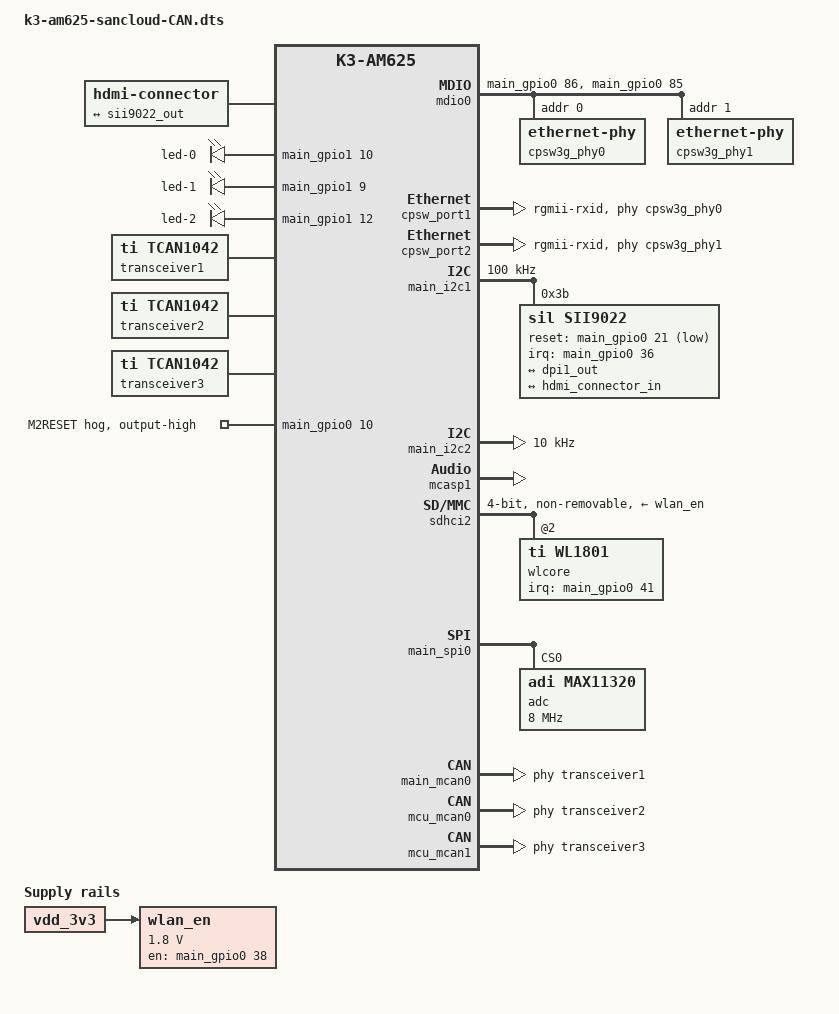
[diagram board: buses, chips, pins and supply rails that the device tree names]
// SPDX-License-Identifier: GPL-2.0
/*
 * https://beagleplay.org/
 *
 * Copyright (C) 2022-2023 Texas Instruments Incorporated - https://www.ti.com/
 * Copyright (C) 2022-2023 Robert Nelson, BeagleBoard.org Foundation
 */

/dts-v1/;
#include "k3-am625-sancloud-stratus.dtsi"

/ {

	wlan_en: regulator-3 {
		/* OUTPUT of SN74AVC2T244DQMR */
		compatible = "regulator-fixed";
		regulator-name = "wlan_en";
		regulator-min-microvolt = <1800000>;
		regulator-max-microvolt = <1800000>;
		enable-active-high;
		regulator-always-on;
		/* regulator-off-in-suspend; */
		vin-supply = <&vdd_3v3>;
		gpio = <&main_gpio0 38 GPIO_ACTIVE_HIGH>;
		pinctrl-names = "default";
		pinctrl-0 = <&wifi_en_pins_default>;
	};

	hdmi: connector {
		compatible = "hdmi-connector";
		label = "hdmi";
		type = "a";
		port {
			hdmi_connector_in: endpoint {
				remote-endpoint = <&sii9022_out>;
			};
		};
	};

	mdio0: bitbang-mdio {
		compatible = "virtual,mdio-gpio";
		pinctrl-names = "default";
		pinctrl-0 = <&mdio0_pins_default>;
		gpios = <&main_gpio0 86 GPIO_ACTIVE_HIGH>, /* MDC */
			<&main_gpio0 85 GPIO_ACTIVE_HIGH>; /* MDIO */
		#address-cells = <1>;
		#size-cells = <0>;

        cpsw3g_phy0: ethernet-phy@0 {
            reg = <0>;
            ti,rx-internal-delay = <DP83867_RGMIIDCTL_2_00_NS>;
            ti,fifo-depth = <DP83867_PHYCR_FIFO_DEPTH_4_B_NIB>;
            ti,min-output-impedance;
        };

        cpsw3g_phy1: ethernet-phy@1 {
            reg = <1>;
            ti,rx-internal-delay = <DP83867_RGMIIDCTL_2_00_NS>;
            ti,fifo-depth = <DP83867_PHYCR_FIFO_DEPTH_4_B_NIB>;
            ti,min-output-impedance;
        };
	};

	hdmi_mstrclk: hdmi-mstrclk {
		compatible = "fixed-clock";
		#clock-cells = <0>;
		clock-frequency = <12288000>;
	};    

	leds {
		compatible = "gpio-leds";

		led-0 {
			gpios = <&main_gpio1 10 GPIO_ACTIVE_HIGH>;
			linux,default-trigger = "heartbeat";
			function = LED_FUNCTION_HEARTBEAT;
			default-state = "off";
		};

		led-1 {
			gpios = <&main_gpio1 9 GPIO_ACTIVE_HIGH>;
			linux,default-trigger = "mmc1";
			function = LED_FUNCTION_DISK;
			default-state = "off";
		};

		led-2 {
			gpios = <&main_gpio1 12 GPIO_ACTIVE_HIGH>;
 			linux,default-trigger = "cpu0";
			function = LED_FUNCTION_CPU;
 			default-state = "off";			
		};
	};

	transceiver1: can-phy0 {
		compatible = "ti,tcan1042";
		#phy-cells = <0>;
		max-bitrate = <5000000>;
	};

	transceiver2: can-phy1 {
		compatible = "ti,tcan1042";
		#phy-cells = <0>;
		max-bitrate = <5000000>;
	};

	transceiver3: can-phy2 {
		compatible = "ti,tcan1042";
		#phy-cells = <0>;
		max-bitrate = <5000000>;
	};

};

&aliases {
		ethernet0 = &cpsw_port1;
		ethernet1 = &cpsw_port2;
		i2c1 = &main_i2c1;
		i2c2 = &main_i2c2;
		i2c3 = &main_i2c3;
		mdio-gpio0 = &mdio0;
		serial0 = &wkup_uart0;
		serial1 = &mcu_uart0;
		serial3 = &main_uart5;
		serial4 = &main_uart6;
		spi1 = &main_spi0;
		spi2 = &main_spi2;
	};

&{/chosen} {
		base_dtb = "k3-am625-sancloud-CAN.dtb";
	};



&main_pmx0 {
	hdmi_pins_default: hdmi-pins-default {
		pinctrl-single,pins = <
			AM62X_IOPAD(0x0100, PIN_OUTPUT, 0) /* (AC25) VOUT0_VSYNC */
			AM62X_IOPAD(0x00f8, PIN_OUTPUT, 0) /* (AB24) VOUT0_HSYNC */
			AM62X_IOPAD(0x0104, PIN_OUTPUT, 0) /* (AC24) VOUT0_PCLK */
			AM62X_IOPAD(0x00fc, PIN_OUTPUT, 0) /* (Y20) VOUT0_DE */
			/* BLUE */
			AM62X_IOPAD(0x00b8, PIN_OUTPUT, 0) /* (U22) VOUT0_DATA0 */
			AM62X_IOPAD(0x00bc, PIN_OUTPUT, 0) /* (V24) VOUT0_DATA1 */
			AM62X_IOPAD(0x00c0, PIN_OUTPUT, 0) /* (W25) VOUT0_DATA2 */
			AM62X_IOPAD(0x00c4, PIN_OUTPUT, 0) /* (W24) VOUT0_DATA3 */
			AM62X_IOPAD(0x00c8, PIN_OUTPUT, 0) /* (Y25) VOUT0_DATA4 */
			AM62X_IOPAD(0x00cc, PIN_OUTPUT, 0) /* (Y24) VOUT0_DATA5 */
			AM62X_IOPAD(0x00d0, PIN_OUTPUT, 0) /* (Y23) VOUT0_DATA6 */
			AM62X_IOPAD(0x00d4, PIN_OUTPUT, 0) /* (AA25) VOUT0_DATA7 */
			/* GREEN */
			AM62X_IOPAD(0x00d8, PIN_OUTPUT, 0) /* (V21) VOUT0_DATA8 */
			AM62X_IOPAD(0x00dc, PIN_OUTPUT, 0) /* (W21) VOUT0_DATA9 */
			AM62X_IOPAD(0x00e0, PIN_OUTPUT, 0) /* (V20) VOUT0_DATA10 */
			AM62X_IOPAD(0x00e4, PIN_OUTPUT, 0) /* (AA23) VOUT0_DATA11 */
			AM62X_IOPAD(0x00e8, PIN_OUTPUT, 0) /* (AB25) VOUT0_DATA12 */
			AM62X_IOPAD(0x00ec, PIN_OUTPUT, 0) /* (AA24) VOUT0_DATA13 */
			AM62X_IOPAD(0x00f0, PIN_OUTPUT, 0) /* (Y22) VOUT0_DATA14 */
			AM62X_IOPAD(0x00f4, PIN_OUTPUT, 0) /* (AA21) VOUT0_DATA15 */
			/*RED*/
			AM62X_IOPAD(0x005c, PIN_OUTPUT, 1) /* (R24) GPMC0_AD8.VOUT0_DATA16 */
			AM62X_IOPAD(0x0060, PIN_OUTPUT, 1) /* (R25) GPMC0_AD9.VOUT0_DATA17 */
			AM62X_IOPAD(0x0064, PIN_OUTPUT, 1) /* (T25) GPMC0_AD10.VOUT0_DATA18 */
			AM62X_IOPAD(0x0068, PIN_OUTPUT, 1) /* (R21) GPMC0_AD11.VOUT0_DATA19 */
			AM62X_IOPAD(0x006c, PIN_OUTPUT, 1) /* (T22) GPMC0_AD12.VOUT0_DATA20 */
			AM62X_IOPAD(0x0070, PIN_OUTPUT, 1) /* (T24) GPMC0_AD13.VOUT0_DATA21 */
			AM62X_IOPAD(0x0074, PIN_OUTPUT, 1) /* (U25) GPMC0_AD14.VOUT0_DATA22 */
			AM62X_IOPAD(0x0078, PIN_OUTPUT, 1) /* (U24) GPMC0_AD15.VOUT0_DATA23 */
		>;
	};

	main_mcasp1_pins_default: main-mcasp1-pins-default {
		pinctrl-single,pins = <
			AM62X_IOPAD(0x0090, PIN_INPUT, 2) /* (M24) GPMC0_BE0N_CLE.MCASP1_ACLKX */
			AM62X_IOPAD(0x0098, PIN_INPUT, 2) /* (U23) GPMC0_WAIT0.MCASP1_AFSX */
			AM62X_IOPAD(0x008c, PIN_OUTPUT, 2) /* (L25) GPMC0_WEN.MCASP1_AXR0 */
			AM62X_IOPAD(0x0084, PIN_INPUT, 2) /* (L23) GPMC0_ADVN_ALE.MCASP1_AXR2 */
		>;
	};

	gpio0_pins_default: gpio0-pins-default {
		pinctrl-single,pins = <
			AM62X_IOPAD(0x001c, PIN_OUTPUT, 7) /* (J23) OSPI0_D4.GPIO0_7 */
			AM62X_IOPAD(0x0020, PIN_OUTPUT, 7) /* (J25) OSPI0_D5.GPIO0_8 */ 
			AM62X_IOPAD(0x0024, PIN_OUTPUT, 7) /* (H25) OSPI0_D7.GPIO0_9 */ 
			AM62X_IOPAD(0x0028, PIN_OUTPUT, 7) /* (J22) OSPI0_D7.GPIO0_10 */
			AM62X_IOPAD(0x0054, PIN_OUTPUT, 7) /* (P21) GPMC0_AD6.GPIO0_21 */ /* HDMI_RSTn */
			AM62X_IOPAD(0x0094, PIN_INPUT, 7) /* (N20) GPMC0_BE1n.GPIO0_36 */ /* HDMI_IRQ */
		>;
	};

	gpio1_pins_default: gpio1-pins-default {
		pinctrl-single,pins = <
			AM62X_IOPAD(0x1a0, PIN_OUTPUT_PULLDOWN, 7)	/* (E18) MCASP0_AXR0.GPIO1_10*/
			AM62X_IOPAD(0x19c, PIN_OUTPUT_PULLDOWN, 7)	/* (B18) MCASP0_AXR1.GPIO1_9*/
			AM62X_IOPAD(0x1a8, PIN_OUTPUT_PULLDOWN, 7)	/* (D20) MCASP0_AFSX.GPIO1_12*/
		>;
	};

	local_i2c1_pins_default: local-i2c1-pins-default {
		pinctrl-single,pins = <
			AM62X_IOPAD(0x01e8, PIN_INPUT_PULLUP, 0) /* (B17) I2C1_SCL */
			AM62X_IOPAD(0x01ec, PIN_INPUT_PULLUP, 0) /* (A17) I2C1_SDA */
		>;
	};

	local_i2c2_pins_default: local-i2c2-pins-default {
		pinctrl-single,pins = <
			AM62X_IOPAD(0x00b0, PIN_INPUT_PULLUP, 1) /* (K22) GPMC0_CSn2.I2C2_SCL */
			AM62X_IOPAD(0x00b4, PIN_INPUT_PULLUP, 1) /* (K24) GPMC0_CSn3.I2C2_SDA */
		>;
	};

	mdio0_pins_default: mdio0-pins-default {
		pinctrl-single,pins = <
			AM62X_IOPAD(0x0160, PIN_OUTPUT, 7) /* (AD24) MDIO0_MDC.GPIO0_86 */
			AM62X_IOPAD(0x015c, PIN_INPUT, 7) /* (AB22) MDIO0_MDIO.GPIO0_85 */
		>;
	};

	rgmii1_pins_default: rgmii1-pins-default {
		pinctrl-single,pins = <
			AM62X_IOPAD(0x014c, PIN_INPUT, 0) /* (AB17) RGMII1_RD0 */
			AM62X_IOPAD(0x0150, PIN_INPUT, 0) /* (AC17) RGMII1_RD1 */
			AM62X_IOPAD(0x0154, PIN_INPUT, 0) /* (AB16) RGMII1_RD2 */
			AM62X_IOPAD(0x0158, PIN_INPUT, 0) /* (AA15) RGMII1_RD3 */
			AM62X_IOPAD(0x0148, PIN_INPUT, 0) /* (AD17) RGMII1_RXC */
			AM62X_IOPAD(0x0144, PIN_INPUT, 0) /* (AE17) RGMII1_RX_CTL */
			AM62X_IOPAD(0x0134, PIN_OUTPUT, 0) /* (AE20) RGMII1_TD0 */
			AM62X_IOPAD(0x0138, PIN_OUTPUT, 0) /* (AD20) RGMII1_TD1 */
			AM62X_IOPAD(0x013c, PIN_OUTPUT, 0) /* (AE18) RGMII1_TD2 */
			AM62X_IOPAD(0x0140, PIN_OUTPUT, 0) /* (AD18) RGMII1_TD3 */
			AM62X_IOPAD(0x0130, PIN_OUTPUT, 0) /* (AE19) RGMII1_TXC */
			AM62X_IOPAD(0x012c, PIN_OUTPUT, 0) /* (AD19) RGMII1_TX_CTL */
			AM62X_IOPAD(0x00a4, PIN_OUTPUT, 7) /* (M22) GPMC0_DIR.GPIO0_40 */
			AM62X_IOPAD(0x00ac, PIN_INPUT_PULLUP, 7) /* (L21) GPMC0_CSn1.GPIO0_42 */

		>;
	};

	rgmii2_pins_default: rgmii2-pins-default {
		pinctrl-single,pins = <
			AM62X_IOPAD(0x184, PIN_INPUT, 0) /* (AE23) RGMII2_RD0 */
			AM62X_IOPAD(0x188, PIN_INPUT, 0) /* (AB20) RGMII2_RD1 */
			AM62X_IOPAD(0x18c, PIN_INPUT, 0) /* (AC21) RGMII2_RD2 */
			AM62X_IOPAD(0x190, PIN_INPUT, 0) /* (AE22) RGMII2_RD3 */
			AM62X_IOPAD(0x180, PIN_INPUT, 0) /* (AD23) RGMII2_RXC */
			AM62X_IOPAD(0x17c, PIN_INPUT, 0) /* (AD22) RGMII2_RX_CTL */
			AM62X_IOPAD(0x16c, PIN_OUTPUT, 0) /* (Y18) RGMII2_TD0 */
			AM62X_IOPAD(0x170, PIN_OUTPUT, 0) /* (AA18) RGMII2_TD1 */
			AM62X_IOPAD(0x174, PIN_OUTPUT, 0) /* (AD21) RGMII2_TD2 */
			AM62X_IOPAD(0x178, PIN_OUTPUT, 0) /* (AC20) RGMII2_TD3 */
			AM62X_IOPAD(0x168, PIN_OUTPUT, 0) /* (AE21) RGMII2_TXC */
			AM62X_IOPAD(0x164, PIN_OUTPUT, 0) /* (AA19) RGMII2_TX_CTL */
			AM62X_IOPAD(0x00a0, PIN_OUTPUT, 7) /* (K25) GPMC0_DIR.GPIO0_39 */
			AM62X_IOPAD(0x01b8, PIN_INPUT_PULLUP, 7) /* (C13) SPI0_CS1.GPIO1_16 */
		>;
	};



	wifi_pins_default: wifi-pins-default {
		pinctrl-single,pins = <
			AM62X_IOPAD(0x0120, PIN_INPUT, 0) /* (C24) MMC2_CMD */
			AM62X_IOPAD(0x0118, PIN_INPUT, 0) /* (D25) MMC2_CLK */
			AM62X_IOPAD(0x0114, PIN_INPUT, 0) /* (B24) MMC2_DAT0 */
			AM62X_IOPAD(0x0110, PIN_INPUT, 0) /* (C25) MMC2_DAT1 */
			AM62X_IOPAD(0x010c, PIN_INPUT, 0) /* (E23) MMC2_DAT2 */
			AM62X_IOPAD(0x0108, PIN_INPUT, 0) /* (D24) MMC2_DAT3 */
			//AM62X_IOPAD(0x0124, PIN_INPUT, 0) /* (A23) MMC2_SDCD */
			//AM62X_IOPAD(0x11c, PIN_INPUT, 0) /* (#N/A) MMC2_CLKB */
		>;
	};

	wifi_en_pins_default: wifi-en-pins-default {
		pinctrl-single,pins = <
			AM62X_IOPAD(0x009c, PIN_OUTPUT, 7) /* (V25) GPMC0_WAIT1.GPIO0_38 */
		>;
	};

	wifi_wlirq_pins_default: wifi-wlirq-pins-default {
		pinctrl-single,pins = <
			AM62X_IOPAD(0x00a8, PIN_INPUT, 7) /* (M21) GPMC0_CSn0.GPIO0_41 */
		>;
	};

	main_mcan0_pins_default: main-mcan0-pins-default {
		pinctrl-single,pins = <
			AM62X_IOPAD(0x1dc, PIN_INPUT, 0) /* (E15) MCAN0_RX */
			AM62X_IOPAD(0x1d8, PIN_OUTPUT, 0) /* (C15) MCAN0_TX */
		>;
	};

	main_spi0_pins_default: main-spi0-pins-default {
		pinctrl-single,pins = <
			AM62X_IOPAD(0x01bc, PIN_INPUT_PULLUP, 0) /* (A14) SPI0_CLK */
			AM62X_IOPAD(0x01c0, PIN_INPUT_PULLUP, 0) /* (B13) SPI0_D0 */
			AM62X_IOPAD(0x01c4, PIN_INPUT_PULLUP, 0) /* (B14) SPI0_D1 */
			AM62X_IOPAD(0x01b4, PIN_INPUT_PULLUP, 0) /* (A13) SPI0_CS0 */
		>;
	};

};

&mcu_pmx0 {

	adc_spi_pins_default: adc-spi-pins-default {
		pinctrl-single,pins = <
			// AM62X_MCU_IOPAD(0x0040, PIN_INPUT, 4) /* (D4) MCU_MCAN1_RX.MCU_SPI1_CLK */
			/* PINMUX TOOL WARNS FOR INVALID IOSET for CS1.. */
			// AM62X_MCU_IOPAD(0x003c, PIN_INPUT, 3) /* (E5) MCU_MCAN1_TX.MCU_SPI1_CS1 */
			AM62X_MCU_IOPAD(0x001c, PIN_INPUT, 3) /* (A6) MCU_UART0_CTSn.MCU_SPI1_D0 */
			AM62X_MCU_IOPAD(0x0020, PIN_INPUT, 3) /* (B6) MCU_UART0_RTSn.MCU_SPI1_D1 */
		>;
	};

	gbe_pmx_obsclk: gbe-pmx-clk-default {
		pinctrl-single,pins = <
			/* 25MHz on MCU_OBSCLK0 -unmodified board has strap option to be changed to enable this */
			AM62X_MCU_IOPAD(0x0004, PIN_OUTPUT, 1) /* (B8) MCU_SPI0_CS1.MCU_OBSCLK0 */
		>;
	};

	i2c_csi_pins_default: i2c-csi-pins-default {
		pinctrl-single,pins = <
			AM62X_MCU_IOPAD(0x004c, PIN_INPUT_PULLUP, 0) /* (B9) WKUP_I2C0_SCL */
			AM62X_MCU_IOPAD(0x0050, PIN_INPUT_PULLUP, 0) /* (A9) WKUP_I2C0_SDA */
		>;
	};

	wifi_32k_clk: mcu-clk-out-pins-default {
		pinctrl-single,pins = <
			/* A12 comes out on Strap option to route to wifi 32k */
			AM62X_MCU_IOPAD(0x0084, PIN_OUTPUT, 0) /* (A12) WKUP_CLKOUT0 */
		>;
	};

	mcu_mcan0_pins_default: mcu-mcan0-pins-default {
		pinctrl-single,pins = <
			AM62X_MCU_IOPAD(0x038, PIN_INPUT, 0) /* (B3) MCU_MCAN0_RX */
			AM62X_MCU_IOPAD(0x034, PIN_OUTPUT, 0) /* (D6) MCU_MCAN0_TX */
		>;
	};

	mcu_mcan1_pins_default: mcu-mcan1-pins-default {
		pinctrl-single,pins = <
			AM62X_MCU_IOPAD(0x040, PIN_INPUT, 0) /* (D4) MCU_MCAN1_RX */
			AM62X_MCU_IOPAD(0x03C, PIN_OUTPUT, 0) /* (E5) MCU_MCAN1_TX */
		>;
	};
};

/* cbass_main */
/* cbass_wkup */

&wkup_i2c0 {
	pinctrl-names = "default";
	pinctrl-0 = <&i2c_csi_pins_default>;
	/* Bump Up to 400KHz if module allows - 100KHz default */
	clock-frequency = <10000>;
	/* Enable with overlay for camera sensor */
	symlink = "play/csi/i2c";
	status = "disabled";
};

&mcu_spi0 {
	status = "disabled";
};

&mcu_spi1 {
	status = "disabled";
};

&mcu_rti0 {
      /* Tightly coupled to M4F */
      status = "disabled";
};

&mcu_m4fss {
	mboxes = <&mailbox0_cluster0 &mbox_m4_0>;
	memory-region = <&mcu_m4fss_dma_memory_region>,
			<&mcu_m4fss_memory_region>;
};

/* NETWORK */
&cpsw3g {
	pinctrl-names = "default";
	pinctrl-0 = <&rgmii1_pins_default>, <&rgmii2_pins_default>;
	assigned-clocks = <&k3_clks 157 70>, <&k3_clks 157 20>;
	assigned-clock-parents = <&k3_clks 157 72>, <&k3_clks 157 22>;
};

&cpsw_port1 {
	status = "okay";
	phy-mode = "rgmii-rxid";
	phy-handle = <&cpsw3g_phy0>;
};

&cpsw_port2 {
	status = "okay";
	phy-mode = "rgmii-rxid";
	phy-handle = <&cpsw3g_phy1>;
};

&cpsw3g_mdio {
	/* Workaround for errata i2329 - Use mdio bitbang */
	status = "disabled";
};

/* GPIO */
&main_gpio0 {
	pinctrl-names = "default";
	pinctrl-0 = <&gpio0_pins_stratus
				&gpio0_pins_default>;
	gpio-line-names = "", "", "", "", "", "", "", "",	/* 0-7 */
		"", "", "M2RESET", "", "NOR_PWR_EN", "", "",			/* 8-14 */
		"", "", "", "", "", "", "",		/* 15-21 */
		"", "",	/* 22-23 */
		"", "",	/* 24-25 */
		"", "", "", "", "", "", "", "", "", "", "", "",	/* 26-37 */
		"", "", "", "", "", "", "", "", "", "",		/* 38-47 */
		"", "", "", "";			/* 48-51 */

	m2_reset {
		gpio-hog;
		gpios = <10 GPIO_ACTIVE_HIGH>;
		output-high;
		line-name = "M2RESET";
	};

};

&main_gpio1 {
	pinctrl-names = "default";
	pinctrl-0 = <&gpio1_pins_default>;
	gpio-line-names = "", "", "", "", "", "", "", "",	/* 0-7 */
		"", "USR1", "USR0", "", "USR2", "", "",			/* 8-14 */
		"", "", "", "", "", "", "",		/* 15-21 */
		"", "",	/* 22-23 */
		"", "",	/* 24-25 */
		"", "", "", "", "", "", "", "", "", "", "", "",	/* 26-37 */
		"", "", "", "", "", "", "", "", "", "",		/* 38-47 */
		"", "", "", "";			/* 48-51 */
};

&mcu_gpio0 {
	gpio-line-names = "", "", "", "",			/* 0-3 */
		"", "", "", "",					/* 4-7 */
		"", "", "", "",					/* 8-11 */
		"", "", "", "",					/* 12-15 */
		"", "", "", "",	/* 16-19 */
		"", "", "", "";					/* 20-23 */
};

/* I2C */

&main_i2c1 {
	pinctrl-names = "default";
	pinctrl-0 = <&local_i2c1_pins_default>;
	clock-frequency = <100000>;
	status = "okay";

	sii9022: sii9022@3b {
		#sound-dai-cells = <0>;
		compatible = "sil,sii9022";
		reset-gpios = <&main_gpio0 21 GPIO_ACTIVE_LOW>;
		reg = <0x3b>;
		clocks = <&hdmi_mstrclk>;
		clock-names = "mclk";

		interrupt-parent = <&main_gpio0>;
		interrupts = <36 IRQ_TYPE_EDGE_FALLING>;

		sil,i2s-data-lanes = < 0 >;

		ports {
			#address-cells = <1>;
			#size-cells = <0>;

			port@0 {
				reg = <0>;

				sii9022_in: endpoint {
					remote-endpoint = <&dpi1_out>;
				};
			};

			port@1 {
				reg = <1>;

				sii9022_out: endpoint {
					remote-endpoint = <&hdmi_connector_in>;
				};
			};
		};
	};

};

&main_i2c2 {
	pinctrl-names = "default";
	pinctrl-0 = <&local_i2c2_pins_default>;
	clock-frequency = <10000>;
	status = "okay";
};



&mcasp0 {
	status = "disabled";
};

&mcasp1 {
	status = "okay";
	#sound-dai-cells = <0>;

	pinctrl-names = "default";
	pinctrl-0 = <&main_mcasp1_pins_default>;

	op-mode = <0>;          /* MCASP_IIS_MODE */
	tdm-slots = <2>;

	serial-dir = <  /* 0: INACTIVE, 1: TX, 2: RX */
	       1 0 2 0
	       0 0 0 0
	       0 0 0 0
	       0 0 0 0
	>;
	tx-num-evt = <32>;
	rx-num-evt = <32>;
};

&mcasp2 {
	status = "disabled";
};

&dss {
	pinctrl-names = "default";
	pinctrl-0 = <&hdmi_pins_default>;
};

&dss_ports {
	#address-cells = <1>;
	#size-cells = <0>;

	/* VP2: DPI Output */
	port@1 {
		reg = <1>;

		dpi1_out: endpoint {
			remote-endpoint = <&sii9022_in>;
		};
	};
};

/* SDIO (EMMC/SD) */
&sdhci2 {
	vmmc-supply = <&wlan_en>;
	pinctrl-names = "default";
	pinctrl-0 = <&wifi_pins_default>, <&wifi_32k_clk>;
	bus-width = <4>;
	non-removable;
	ti,fails-without-test-cd;
	cap-power-off-card;
	keep-power-in-suspend;
	ti,driver-strength-ohm = <50>;
	assigned-clocks = <&k3_clks 157 158>;
	assigned-clock-parents = <&k3_clks 157 160>;
	#address-cells = <1>;
	#size-cells = <0>;
	status = "okay";

	wlcore: wlcore@2 {
		compatible = "ti,wl1801";
		reg = <2>;
		pinctrl-names = "default";
		pinctrl-0 = <&wifi_wlirq_pins_default>;
		interrupt-parent = <&main_gpio0>;
		interrupts = <41 IRQ_TYPE_EDGE_FALLING>;
	};
};

&epwm0 {
	status = "disabled";
};

&epwm1 {
	status = "disabled";
};

&epwm2 {
	status = "disabled";
};

&main_uart1 {
	/* Main UART1 is used by TIFS firmware */
	status = "reserved";
};

&main_uart2 {
	status = "disabled";
};

&main_uart3 {
	status = "disabled";
};

&main_uart4 {
	status = "disabled";
};

&main_uart5 {
	status = "disabled";
};

&main_uart6 {
	status = "disabled";
};

&main_spi0 {
	status = "okay";
	pinctrl-names = "default";
	pinctrl-0 = <&main_spi0_pins_default>;
	#address-cells = <1>;
	#size-cells= <0>;
	ti,spi-num-cs = <1>;
	cs-gpios = <0>;

		/* add any spi devices connected here */
		adc@0 {
			compatible = "adi,max11320";
			spi-max-frequency = <8000000>;
			reg = <0>;

			#address-cells = <1>;
			#size-cells = <0>;

			spi-cpha;
			spi-cpol;

			channel_group_name = "Voltage_ADC";

			channel@7 {
				reg = <0>;
				adi,reference = <3>;
				adi,input-mode = <0>;					
			};

			channel@6 {
				reg = <1>;
				adi,reference = <3>;
				adi,input-mode = <0>;					
			};

			channel@5 {
				reg = <2>;
				adi,reference = <3>;
				adi,input-mode = <0>;					
			};

			channel@4 {
				reg = <3>;
				adi,reference = <3>;
				adi,input-mode = <0>;					
			};

			channel@3 {
				reg = <4>;
				adi,reference = <3>;
				adi,input-mode = <0>;					
			};

			channel@2 {
				reg = <5>;
				adi,reference = <3>;
				adi,input-mode = <0>;					
			};

			channel@1 {
				reg = <6>;
				adi,reference = <3>;
				adi,input-mode = <0>;					
			};

			channel@0 {
				reg = <7>;
				adi,reference = <3>;
				adi,input-mode = <0>;					
			};
		};

};

&main_spi1 {
	status = "disabled";
};

&dphy0 {
       status = "disabled";
};

&ti_csi2rx0 {
      status = "disabled";
};

&main_mcan0 {
	status = "okay";
	pinctrl-names = "default";
	pinctrl-0 = <&main_mcan0_pins_default>;
	phys = <&transceiver1>;
};

&mcu_mcan0 {
	status = "okay";
	pinctrl-names = "default";
	pinctrl-0 = <&mcu_mcan0_pins_default>;
	phys = <&transceiver2>;
};

&mcu_mcan1 {
	status = "okay";
	pinctrl-names = "default";
	pinctrl-0 = <&mcu_mcan1_pins_default>;
	phys = <&transceiver3>;
};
